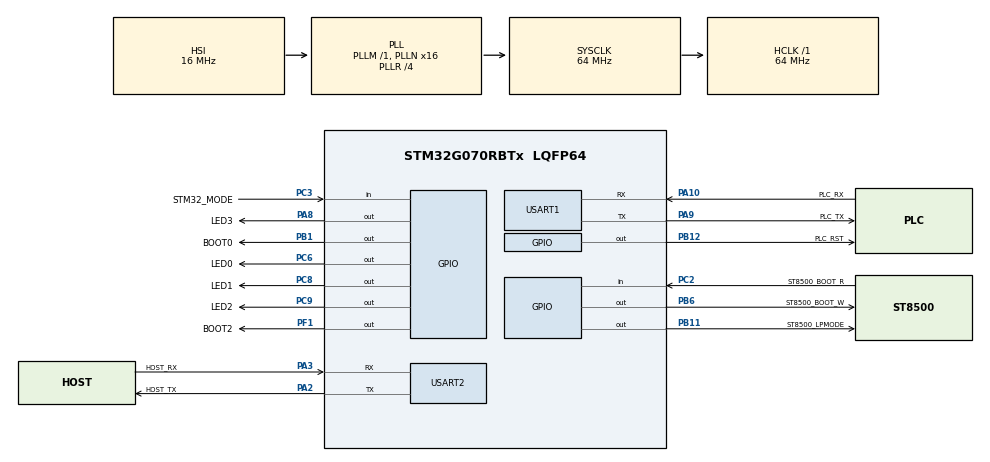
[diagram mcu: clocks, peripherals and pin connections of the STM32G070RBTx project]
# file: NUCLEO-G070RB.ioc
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FREERTOS.Queues01=send_op_begin_queue,2,task_comm_msg_t,0,Dynamic,NULL,NULL;recv_op_begin_queue,4,task_comm_msg_t,0,Dynamic,NULL,NULL;g3_to_user_queue,4,g3_user_msg_t,0,Dynamic,NULL,NULL
FREERTOS.Tasks01=default_task,24,128,start_default_task,Default,NULL,Dynamic,NULL,NULL;g3_task,24,256,start_g3_task,Default,NULL,Dynamic,NULL,NULL;user_task,24,256,user_task_run,Default,NULL,Dynamic,NULL,NULL
FREERTOS.configTICK_RATE_HZ=100
FREERTOS.configTOTAL_HEAP_SIZE=4096
Mcu.Family=STM32G0
Mcu.Name=STM32G070RBTx
Mcu.Package=LQFP64
NVIC.TIM6_IRQn=true\:0\:0\:false\:false\:true\:false\:false\:true
NVIC.TimeBase=TIM6_IRQn
NVIC.TimeBaseIP=TIM6
NVIC.USART1_IRQn=true\:2\:0\:true\:true\:true\:1\:true\:true\:false
NVIC.USART2_IRQn=true\:2\:0\:true\:true\:true\:2\:false\:true\:false
PA10.GPIO_Label=PLC_RX
PA10.GPIO_PuPd=GPIO_PULLUP
PA10.GPIO_Speed=GPIO_SPEED_FREQ_VERY_HIGH
PA10.Mode=Asynchronous
PA10.Signal=USART1_RX
PA13.GPIO_Label=TMS
PA13.Mode=Serial_Wire
PA13.Signal=SYS_SWDIO
PA14-BOOT0.GPIO_Label=TCK
PA14-BOOT0.Mode=Serial_Wire
PA14-BOOT0.Signal=SYS_SWCLK
PA2.GPIO_Label=HOST_TX
PA2.GPIO_PuPd=GPIO_PULLUP
PA2.GPIO_Speed=GPIO_SPEED_FREQ_VERY_HIGH
PA2.Mode=Asynchronous
PA2.Signal=USART2_TX
PA3.GPIO_Label=HOST_RX
PA3.GPIO_PuPd=GPIO_PULLUP
PA3.GPIO_Speed=GPIO_SPEED_FREQ_VERY_HIGH
PA3.Mode=Asynchronous
PA3.Signal=USART2_RX
PA8.GPIO_Label=LED3
PA8.Signal=GPIO_Output
PA9.GPIO_Label=PLC_TX
PA9.GPIO_PuPd=GPIO_PULLUP
PA9.GPIO_Speed=GPIO_SPEED_FREQ_VERY_HIGH
PA9.Mode=Asynchronous
PA9.Signal=USART1_TX
PB1.GPIO_Label=BOOT0
PB1.GPIO_PuPd=GPIO_NOPULL
PB1.Signal=GPIO_Output
PB11.GPIO_Label=ST8500_LPMODE
PB11.Signal=GPIO_Output
PB12.GPIO_Label=PLC_RST
PB12.Signal=GPIO_Output
PB6.GPIO_Label=ST8500_BOOT_W
PB6.Signal=GPIO_Output
PC2.GPIO_Label=ST8500_BOOT_R
PC2.GPIO_PuPd=GPIO_PULLDOWN
PC2.Signal=GPIO_Input
PC3.GPIO_Label=STM32_MODE
PC3.GPIO_PuPd=GPIO_PULLDOWN
PC3.Signal=GPIO_Input
PC6.GPIO_Label=LED0
PC6.Signal=GPIO_Output
PC8.GPIO_Label=LED1
PC8.Signal=GPIO_Output
PC9.GPIO_Label=LED2
PC9.Signal=GPIO_Output
PF1-OSC_OUT\ (PF1).GPIO_Label=BOOT2
PF1-OSC_OUT\ (PF1).Signal=GPIO_Output
ProjectManager.HeapSize=0x0
ProjectManager.StackSize=0x400
ProjectManager.TargetToolchain=EWARM V8
RCC.ADCFreq_Value=64000000
RCC.AHBFreq_Value=64000000
RCC.CortexFreq_Value=64000000
RCC.EXTERNAL_CLOCK_VALUE=12288000
RCC.HCLKFreq_Value=64000000
RCC.HSE_VALUE=8000000
RCC.HSI_VALUE=16000000
RCC.LSE_VALUE=32768
RCC.PLLN=16
RCC.PLLR=RCC_PLLR_DIV4
RCC.SYSCLKFreq_VALUE=64000000
RCC.SYSCLKSource=RCC_SYSCLKSOURCE_PLLCLK
RCC.VCOOutputFreq_Value=256000000
USART1.VirtualMode-Asynchronous=VM_ASYNC
USART2.VirtualMode-Asynchronous=VM_ASYNC
VP_FREERTOS_VS_CMSIS_V2.Mode=CMSIS_V2
VP_SYS_VS_DBSignals.Mode=DisableDeadBatterySignals
VP_SYS_VS_tim6.Mode=TIM6
board=NUCLEO-G070RB

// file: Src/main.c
/* USER CODE BEGIN Header */
/**
  ******************************************************************************
  * @file           : main.c
  * @brief          : Main program body
  ******************************************************************************
  * @attention
  *
  * <h2><center>&copy; Copyright (c) 2020 STMicroelectronics.
  * All rights reserved.</center></h2>
  *
  * This software component is licensed by ST under Ultimate Liberty license
  * SLA0044, the "License"; You may not use this file except in compliance with
  * the License. You may obtain a copy of the License at:
  *                             www.st.com/SLA0044
  *
  ******************************************************************************
  */
/* USER CODE END Header */
#include "main.h"
#include "cmsis_os.h"
#include "usart.h"
#include "gpio.h"

/* USER CODE BEGIN Includes */

#include <soft_timer.h>
#include <st8500_handler.h>

/* USER CODE END Includes */

void SystemClock_Config(void);
void MX_FREERTOS_Init(void);
static void MX_NVIC_Init(void);

int main(void)
{

  /* MCU Configuration--------------------------------------------------------*/

  /* Reset of all peripherals, Initializes the Flash interface and the Systick. */
  HAL_Init();

  /* Configure the system clock */
  SystemClock_Config();

  /* USER CODE BEGIN SysInit */

  // Here we set the TIM6 interrupt priority to 1, so that the systick,
  // which is handled internally by the freertos and whose interrupt is set to 0,
  // can have a higher priority, otherwise the freertos won't work correctly
  while (HAL_InitTick(3) != HAL_OK) {}

  // We add this call here because it's needed for the passwthrough
  MX_GPIO_Init();

  if(STM32_GetBootMode() == STM32_BOOT_PASSTHROUGH) {
    ST8500_assert_reset();

    HAL_GPIO_WritePin(LED0_GPIO_Port, LED0_Pin, GPIO_PIN_SET);
    HAL_GPIO_WritePin(LED1_GPIO_Port, LED1_Pin, GPIO_PIN_SET);
    HAL_GPIO_WritePin(LED2_GPIO_Port, LED2_Pin, GPIO_PIN_SET);
    HAL_GPIO_WritePin(LED3_GPIO_Port, LED3_Pin, GPIO_PIN_SET);

    if (ST8500_GetBootMode() == ST8500_BOOT_FROM_UART) {
      HAL_GPIO_WritePin(ST8500_BOOT_W_GPIO_Port, ST8500_BOOT_W_Pin, GPIO_PIN_RESET);
    } else {
      HAL_GPIO_WritePin(ST8500_BOOT_W_GPIO_Port, ST8500_BOOT_W_Pin, GPIO_PIN_SET);
    }

    STM32_pass_through_activate();

    HAL_GPIO_TogglePin(LED3_GPIO_Port, LED3_Pin);

    ST8500_release_reset();

    while (1) {
      __WFI();
    }
  }

  /* USER CODE END SysInit */

  /* Initialize all configured peripherals */
  MX_GPIO_Init();
  MX_USART1_UART_Init();
  MX_USART2_UART_Init();

  /* Initialize interrupts */
  MX_NVIC_Init();
  /* USER CODE BEGIN 2 */

  HAL_GPIO_WritePin(LED0_GPIO_Port, LED0_Pin, GPIO_PIN_SET);
  HAL_GPIO_WritePin(LED1_GPIO_Port, LED1_Pin, GPIO_PIN_SET);
  HAL_GPIO_WritePin(LED2_GPIO_Port, LED2_Pin, GPIO_PIN_SET);
  HAL_GPIO_WritePin(LED3_GPIO_Port, LED3_Pin, GPIO_PIN_SET);

  // put ST8500 under reset and in the meantime check the STM32 mode
  ST8500_assert_reset();

  /* USER CODE END 2 */

  /* Init scheduler */
  osKernelInitialize();  /* Call init function for freertos objects (in freertos.c) */
  MX_FREERTOS_Init();
  /* Start scheduler */
  osKernelStart();

  /* We should never get here as control is now taken by the scheduler */
  /* Infinite loop */
  while (1)
  {

  }
}

void SystemClock_Config(void)
{
  RCC_OscInitTypeDef RCC_OscInitStruct = {0};
  RCC_ClkInitTypeDef RCC_ClkInitStruct = {0};
  RCC_PeriphCLKInitTypeDef PeriphClkInit = {0};

  /** Configure the main internal regulator output voltage
  */
  HAL_PWREx_ControlVoltageScaling(PWR_REGULATOR_VOLTAGE_SCALE1);
  /** Initializes the RCC Oscillators according to the specified parameters
  * in the RCC_OscInitTypeDef structure.
  */
  RCC_OscInitStruct.OscillatorType = RCC_OSCILLATORTYPE_HSI;
  RCC_OscInitStruct.HSIState = RCC_HSI_ON;
  RCC_OscInitStruct.HSIDiv = RCC_HSI_DIV1;
  RCC_OscInitStruct.HSICalibrationValue = RCC_HSICALIBRATION_DEFAULT;
  RCC_OscInitStruct.PLL.PLLState = RCC_PLL_ON;
  RCC_OscInitStruct.PLL.PLLSource = RCC_PLLSOURCE_HSI;
  RCC_OscInitStruct.PLL.PLLM = RCC_PLLM_DIV1;
  RCC_OscInitStruct.PLL.PLLN = 16;
  RCC_OscInitStruct.PLL.PLLP = RCC_PLLP_DIV2;
  RCC_OscInitStruct.PLL.PLLR = RCC_PLLR_DIV4;
  if (HAL_RCC_OscConfig(&RCC_OscInitStruct) != HAL_OK)
  {
    Error_Handler();
  }
  /** Initializes the CPU, AHB and APB buses clocks
  */
  RCC_ClkInitStruct.ClockType = RCC_CLOCKTYPE_HCLK|RCC_CLOCKTYPE_SYSCLK
                              |RCC_CLOCKTYPE_PCLK1;
  RCC_ClkInitStruct.SYSCLKSource = RCC_SYSCLKSOURCE_PLLCLK;
  RCC_ClkInitStruct.AHBCLKDivider = RCC_SYSCLK_DIV1;
  RCC_ClkInitStruct.APB1CLKDivider = RCC_HCLK_DIV1;

  if (HAL_RCC_ClockConfig(&RCC_ClkInitStruct, FLASH_LATENCY_2) != HAL_OK)
  {
    Error_Handler();
  }
  /** Initializes the peripherals clocks
  */
  PeriphClkInit.PeriphClockSelection = RCC_PERIPHCLK_USART1|RCC_PERIPHCLK_USART2;
  PeriphClkInit.Usart1ClockSelection = RCC_USART1CLKSOURCE_PCLK1;
  PeriphClkInit.Usart2ClockSelection = RCC_USART2CLKSOURCE_PCLK1;
  if (HAL_RCCEx_PeriphCLKConfig(&PeriphClkInit) != HAL_OK)
  {
    Error_Handler();
  }
}

/**
  * @brief NVIC Configuration.
  * @retval None
  */
static void MX_NVIC_Init(void)
{
  /* USART1_IRQn interrupt configuration */
  HAL_NVIC_SetPriority(USART1_IRQn, 2, 0);
  HAL_NVIC_EnableIRQ(USART1_IRQn);
  /* USART2_IRQn interrupt configuration */
  HAL_NVIC_SetPriority(USART2_IRQn, 2, 0);
  HAL_NVIC_EnableIRQ(USART2_IRQn);
}

void HAL_TIM_PeriodElapsedCallback(TIM_HandleTypeDef *htim)
{
  /* USER CODE BEGIN Callback 0 */
  if (htim->Instance == TIM6) {
    st_isr();
  }
  /* USER CODE END Callback 0 */
  if (htim->Instance == TIM6) {
    HAL_IncTick();
  }
}

void Error_Handler(void)
{
}

/************************ (C) COPYRIGHT STMicroelectronics *****END OF FILE****/

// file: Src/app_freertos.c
/* USER CODE BEGIN Header */
/**
  ******************************************************************************
  * File Name          : freertos.c
  * Description        : Code for freertos applications
  ******************************************************************************
  * @attention
  *
  * <h2><center>&copy; Copyright (c) 2020 STMicroelectronics.
  * All rights reserved.</center></h2>
  *
  * This software component is licensed by ST under Ultimate Liberty license
  * SLA0044, the "License"; You may not use this file except in compliance with
  * the License. You may obtain a copy of the License at:
  *                             www.st.com/SLA0044
  *
  ******************************************************************************
  */
/* USER CODE END Header */

#include "FreeRTOS.h"
#include "task.h"
#include "main.h"
#include "cmsis_os.h"

/* USER CODE BEGIN Includes */
#include "st8500_handler.h"
#include <g3_task.h>
#include <g3_app_config.h>
#include <user_g3_common.h>
#include <user_task.h>

/* USER CODE END Includes */

/* USER CODE BEGIN PD */
#define SEND_QUEUE_MAX_ELEMS    1U
#define RECV_QUEUE_MAX_ELEMS    4U
/* USER CODE END PD */

/* USER CODE BEGIN Variables */
task_comm_info_t g3_task_comm_info;
/* USER CODE END Variables */
/* Definitions for default_task */
osThreadId_t default_taskHandle;
const osThreadAttr_t default_task_attributes = {
  .name = "default_task",
  .priority = (osPriority_t) osPriorityNormal,
  .stack_size = 128 * 4
};
/* Definitions for g3_task */
osThreadId_t g3_taskHandle;
const osThreadAttr_t g3_task_attributes = {
  .name = "g3_task",
  .priority = (osPriority_t) osPriorityNormal,
  .stack_size = 256 * 4
};
/* Definitions for user_task */
osThreadId_t user_taskHandle;
const osThreadAttr_t user_task_attributes = {
  .name = "user_task",
  .priority = (osPriority_t) osPriorityNormal,
  .stack_size = 256 * 4
};
/* Definitions for send_op_begin_queue */
osMessageQueueId_t send_op_begin_queue;
const osMessageQueueAttr_t send_op_begin_queue_attributes = {
  .name = "send_op_begin_queue"
};
/* Definitions for recv_op_begin_queue */
osMessageQueueId_t recv_op_begin_queue;
const osMessageQueueAttr_t recv_op_begin_queue_attributes = {
  .name = "recv_op_begin_queue"
};
/* Definitions for g3_to_user_queue */
osMessageQueueId_t g3_to_user_queueHandle;
const osMessageQueueAttr_t g3_to_user_queue_attributes = {
  .name = "g3_to_user_queue"
};

/* USER CODE BEGIN FunctionPrototypes */

static void show_device_type(void)
{
#ifdef DEVICE_TYPE_DEVICE
    HAL_GPIO_TogglePin(LED1_GPIO_Port, LED1_Pin);
#elif defined(DEVICE_TYPE_COORD)
    HAL_GPIO_TogglePin(LED2_GPIO_Port, LED2_Pin);
#endif
}

/* USER CODE END FunctionPrototypes */

void start_default_task(void *argument);
void start_g3_task(void *argument);
void user_task_run(void *argument);

void MX_FREERTOS_Init(void); /* (MISRA C 2004 rule 8.1) */

void MX_FREERTOS_Init(void) {

  /* Create the queue(s) */
  /* creation of send_op_begin_queue */
  g3_task_comm_info.send_op_begin_queue = osMessageQueueNew (2, sizeof(task_comm_msg_t), &send_op_begin_queue_attributes);

  /* creation of recv_op_begin_queue */
  g3_task_comm_info.recv_op_begin_queue = osMessageQueueNew (4, sizeof(task_comm_msg_t), &recv_op_begin_queue_attributes);

  /* creation of g3_to_user_queue */
  g3_to_user_queueHandle = osMessageQueueNew (4, sizeof(g3_user_msg_t), &g3_to_user_queue_attributes);

  /* Create the thread(s) */
  /* creation of default_task */
  default_taskHandle = osThreadNew(start_default_task, NULL, &default_task_attributes);

  /* creation of g3_task */
  g3_taskHandle = osThreadNew(start_g3_task, NULL, &g3_task_attributes);

  /* creation of user_task */
  user_taskHandle = osThreadNew(user_task_run, NULL, &user_task_attributes);

}

void start_default_task(void *argument)
{
  /* USER CODE BEGIN start_default_task */
  uint32_t tick= osKernelGetSysTimerCount();
  uint32_t timeout = 0;

  if (ST8500_GetBootMode() == ST8500_BOOT_FROM_UART) {
    HAL_GPIO_WritePin(ST8500_BOOT_W_GPIO_Port, ST8500_BOOT_W_Pin, GPIO_PIN_RESET);
  } else {
    HAL_GPIO_WritePin(ST8500_BOOT_W_GPIO_Port, ST8500_BOOT_W_Pin, GPIO_PIN_SET);
  }

  show_device_type();

  osDelay(10*osKernelGetTickFreq()/1000); //just delay for 100 millisec

  /* LED blinking every 500 ms == 500 000 usec */
  timeout = 500000U * (osKernelGetSysTimerFreq() / 1000000u);

  /* Infinite loop */
  for(;;)
  {
    if((osKernelGetSysTimerCount() - tick) >= timeout)
    {
        HAL_GPIO_TogglePin(LED0_GPIO_Port, LED0_Pin);
        tick = osKernelGetSysTimerCount();
    }
  }
  /* USER CODE END start_default_task */
}

void start_g3_task(void *argument)
{
  /* USER CODE BEGIN start_g3_task */
 /*  g3_task context initialization */
  task_comm_init(&g3_task_comm_info, SEND_QUEUE_MAX_ELEMS, RECV_QUEUE_MAX_ELEMS);
  g3_task_init();

  g3_app_task();
  /* USER CODE END start_g3_task */
}

void user_task_run(void *argument)
{
  /* USER CODE BEGIN user_task_run */

  /*  g3_task context initialization */
  USER_TaskInit(&g3_task_comm_info);

  USER_AppTask();
  /* USER CODE END user_task_run */
}

/************************ (C) COPYRIGHT STMicroelectronics *****END OF FILE****/
